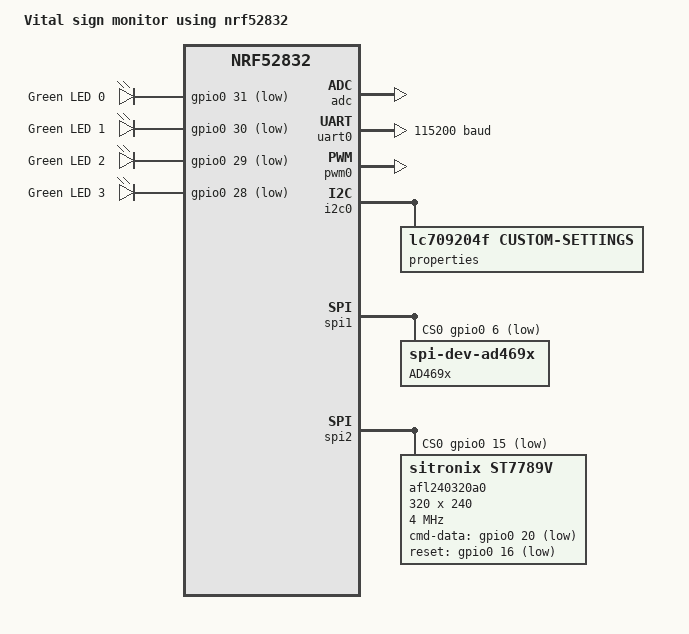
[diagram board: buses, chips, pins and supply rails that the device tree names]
/dts-v1/;
#include <nordic/nrf52832_qfaa.dtsi>
#include "vital_monitor_nrf52832-defines.dtsi"
#include "vital_monitor_nrf52832-pinctrl.dtsi"
#include "vital_monitor-defines.dtsi"

/ {
	model = "Vital sign monitor using nrf52832";
	compatible = "nordic,nrf52-dk-nrf52832";

	chosen {
		zephyr,console = &uart0;
		zephyr,shell-uart = &uart0;
		zephyr,uart-mcumgr = &uart0;
		zephyr,bt-mon-uart = &uart0;
		zephyr,bt-c2h-uart = &uart0;
		zephyr,sram = &sram0;
		zephyr,flash = &flash0;
		zephyr,code-partition = &slot0_partition;
        zephyr,display = &afl240320a0;
	};

	leds {
		compatible = "gpio-leds";
		led0: led_0 {
			gpios = <&gpio0 31 GPIO_ACTIVE_LOW>;
			label = "Green LED 0";
		};
		led1: led_1 {
			gpios = <&gpio0 30 GPIO_ACTIVE_LOW>;
			label = "Green LED 1";
		};
		led2: led_2 {
			gpios = <&gpio0 29 GPIO_ACTIVE_LOW>;
			label = "Green LED 2";
		};
		led3: led_3 {
			gpios = <&gpio0 28 GPIO_ACTIVE_LOW>;
			label = "Green LED 3";
		};
	};
/*
	pwmleds {
		compatible = "pwm-leds";
		pwm_led0: pwm_led_0 {
			pwms = <&pwm0 0 PWM_MSEC(20) PWM_POLARITY_INVERTED>;
		};
	};
	buttons {
		compatible = "gpio-keys";
		button0: button_0 {
			gpios = <&gpio0 13 (GPIO_PULL_UP | GPIO_ACTIVE_LOW)>;
			label = "Push button switch 0";
		};
		button1: button_1 {
			gpios = <&gpio0 14 (GPIO_PULL_UP | GPIO_ACTIVE_LOW)>;
			label = "Push button switch 1";
		};
		button2: button_2 {
			gpios = <&gpio0 15 (GPIO_PULL_UP | GPIO_ACTIVE_LOW)>;
			label = "Push button switch 2";
		};
		button3: button_3 {
			gpios = <&gpio0 16 (GPIO_PULL_UP | GPIO_ACTIVE_LOW)>;
			label = "Push button switch 3";
		};
	};
*/

	/* These aliases are provided for compatibility with samples */
	aliases {
		led0 = &led0;
		led1 = &led1;
		led2 = &led2;
		led3 = &led3;
        /*
		pwm-led0 = &pwm_led0;
		sw0 = &button0;
		sw1 = &button1;
		sw2 = &button2;
		sw3 = &button3;
        mcuboot-button0 = &button0;
         */
		bootloader-led0 = &led0;
		mcuboot-led0 = &led0;
		watchdog0 = &wdt0;
	};
};

&adc {
	status = "okay";
};

&gpiote {
	status = "okay";
};

&gpio0 {
	status = "okay";
};

arduino_serial: &uart0 {
	status = "okay";
	compatible = "nordic,nrf-uarte";
	current-speed = <115200>;
	pinctrl-0 = <&uart0_default>;
	pinctrl-1 = <&uart0_sleep>;
	pinctrl-names = "default", "sleep";
};

&i2c1 {
	compatible = "nordic,nrf-twi";
	/* Cannot be used together with spi1. */
	/* status = "okay"; */
	pinctrl-0 = <&i2c1_default>;
	pinctrl-1 = <&i2c1_sleep>;
	pinctrl-names = "default", "sleep";
};

&pwm0 {
	status = "okay";
	pinctrl-0 = <&pwm0_default>;
	pinctrl-1 = <&pwm0_sleep>;
	pinctrl-names = "default", "sleep";
};

&i2c0 {
    compatible = "nordic,nrf-twim";
    status = "okay";
    pinctrl-0 = <&i2c0_default>;
    pinctrl-1 = <&i2c0_sleep>;
    pinctrl-names = "default", "sleep";

    lc709204f: i2c-dev-lc709204f@0 {
        label = "LC709204F";
        reg = <0>;

        /* Configure other devices device properties as needed.*/
        properties {
            compatible = "lc709204f,custom-settings";
            i2c-frequency = <I2C_SPEED_STANDARD>;
            slave-address = <0x0B>;
            /*Define which GPIO's are to be used as CS for the ad469*/
            /*alarm-b-gpios = <&gpio0 22 GPIO_ACTIVE_HIGH>;*/
        };

    };

};

&spi0 {
	compatible = "nordic,nrf-spi";
	/* Cannot be used together with i2c0. */
	/* status = "okay"; */
	pinctrl-0 = <&spi0_default>;
	pinctrl-1 = <&spi0_sleep>;
	pinctrl-names = "default", "sleep";
};

&spi1 {
	compatible = "nordic,nrf-spi";
	status = "okay";
	pinctrl-0 = <&spi1_default>;
	pinctrl-1 = <&spi1_sleep>;
	pinctrl-names = "default", "sleep";

    cs-gpios = <&gpio0 6 GPIO_ACTIVE_LOW>; /* D10 */

    ad469x: spi-dev-ad469x@0 {

        /*compatible = "ad469x,custom-settings";*/
        label = "AD469x";
        reg = <0>;

        /* Configure other SPI device properties as needed.*/
        properties {
            compatible = "ad469x,custom-settings";
            spi-frequency-reg = <4000000>;
            spi-frequency-cnv = <4000000>;
            cs-delay          = <0>;
            /*Define which GPIO's are to be used as CS for the ad469*/
            adc-reset-gpios   = <&gpio0 3 GPIO_ACTIVE_HIGH>;
            adc-busy-gpios    = <&gpio0 4 GPIO_ACTIVE_HIGH>;
            adc-convert-gpios = <&gpio0 6 GPIO_ACTIVE_HIGH>;
        };

    };


};

&spi2 {
	compatible = "nordic,nrf-spi";
	status = "okay";
	pinctrl-0 = <&spi2_default>;
	pinctrl-1 = <&spi2_sleep>;
	pinctrl-names = "default", "sleep";

    cs-gpios = <&gpio0 15 GPIO_ACTIVE_LOW>; /* D10 */

    afl240320a0: display-afl240320a0@0 {
        compatible = "sitronix,st7789v";
        spi-max-frequency = <4000000>;
        reg = <0>;
        cmd-data-gpios = <&gpio0 20 GPIO_ACTIVE_LOW>;	/* D9 */
        reset-gpios = <&gpio0 16 GPIO_ACTIVE_LOW>;	/* D8 */

        width = <320>;
        height = <240>;
        x-offset = <0>;
        y-offset = <0>;
        vcom = <0x2b>;
        gctrl = <0x35>;
        vrhs = <0x0f>;
        vdvs = <0x20>;
        mdac = <0x60>;
        gamma = <0x01>;
        colmod = <0x55>;
        lcm = <0x2c>;
        porch-param = [0c 0c 00 33 33];
        cmd2en-param = [5a 69 02 01];
        pwctrl1-param = [52 a1];
        pvgam-param = [D0 00 02 07 0B 1A 31 54 40 29 12 12 12 17];
        nvgam-param = [D0 00 02 07 05 15 2D 44 44 1C 18 16 1C 1D];
        ram-param = [00 F8];
        rgb-param = [CD 08 14];

        properties {
            compatible = "afl240320a0,custom-settings";
            blk-gpios  = <&gpio0 17 GPIO_ACTIVE_HIGH>;
            wake-gpios = <&gpio0 10 GPIO_ACTIVE_HIGH>;
            enable-gpios = <&gpio0 19 GPIO_ACTIVE_HIGH>;
            pwms       = <&pwm0 0 PWM_MSEC(20) PWM_POLARITY_INVERTED>;
            pwm-names  = "blk-pwm";
            spi-frequency = <4000000>;
        };

    };


};

&flash0 {

	partitions {
		compatible = "fixed-partitions";
		#address-cells = <1>;
		#size-cells = <1>;

		boot_partition: partition@0 {
			label = "mcuboot";
			reg = <0x00000000 0xc000>;
		};
		slot0_partition: partition@c000 {
			label = "image-0";
			reg = <0x0000C000 0x32000>;
		};
		slot1_partition: partition@3e000 {
			label = "image-1";
			reg = <0x0003E000 0x32000>;
		};
		scratch_partition: partition@70000 {
			label = "image-scratch";
			reg = <0x00070000 0xa000>;
		};
		storage_partition: partition@7a000 {
			label = "storage";
			reg = <0x0007a000 0x00006000>;
		};
	};
};

/ {
    settings {

        afe_settings: afe-custom-settings {
            compatible   = "afe-settings,custom-settings";

            afe-enable-gpios = <&gpio0 9 GPIO_ACTIVE_LOW>;
            output-enable-gpios = <&gpio0 2 GPIO_ACTIVE_LOW>;

        };

        ad469x_settings: ad469x-custom-settings {
            compatible   = "ad469x-sequencer,settings";  /* <--------- */
            /*Use this to set default settings for channels in the ADC */
            adc-channels =
            <VITAL_MONITOR_CHANNEL_TEMPERATURE    AD469X_OSR_64 AD469X_PAIRED_COM >,
            <VITAL_MONITOR_CHANNEL_HEART_RATE_1   AD469X_OSR_1  AD469X_PAIRED_REFGND >,
            <VITAL_MONITOR_CHANNEL_HEART_RATE_2   AD469X_OSR_1  AD469X_PAIRED_REFGND >,
            <VITAL_MONITOR_CHANNEL_BLOOD_OXYGEN_1 AD469X_OSR_1  AD469X_PAIRED_REFGND >,
            <VITAL_MONITOR_CHANNEL_BLOOD_OXYGEN_2 AD469X_OSR_1  AD469X_PAIRED_REFGND >,
            <VITAL_MONITOR_CHANNEL_RESPIRATION    AD469X_OSR_1  AD469X_PAIRED_REFGND >,
            <VITAL_MONITOR_CHANNEL_ACCELERATION_X AD469X_OSR_1  AD469X_PAIRED_COM >,
            <VITAL_MONITOR_CHANNEL_ACCELERATION_Y AD469X_OSR_1  AD469X_PAIRED_COM >,
            <VITAL_MONITOR_CHANNEL_ACCELERATION_Z AD469X_OSR_1  AD469X_PAIRED_COM >;

            /*Use this to set the default advanced sequencer channels
             The order of numbers here start at slot 1*/
            adv-sequencer-slots =   <VITAL_MONITOR_CHANNEL_TEMPERATURE VITAL_MONITOR_CHANNEL_RESPIRATION
                                     VITAL_MONITOR_CHANNEL_ACCELERATION_X VITAL_MONITOR_CHANNEL_ACCELERATION_Y
                                     VITAL_MONITOR_CHANNEL_ACCELERATION_Z VITAL_MONITOR_CHANNEL_HEART_RATE_1
                                     VITAL_MONITOR_CHANNEL_HEART_RATE_2>;
        };

        bluetooth_settings: bluetooth-custom-settings {

            compatible = "vital-monitor,bluetooth-settings";

            adv-name = "Vital Sign monitor";

        };

    };
};
